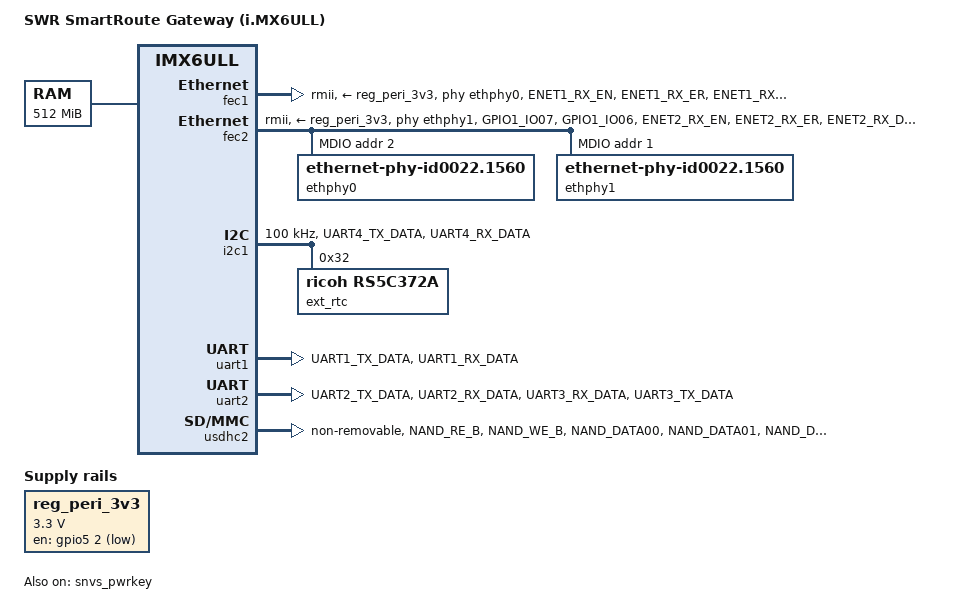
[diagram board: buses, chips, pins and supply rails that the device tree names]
// SPDX-License-Identifier: (GPL-2.0 OR MIT)
/*
 * SWR SmartRoute Gateway - i.MX6ULL custom board
 *
 * NXP i.MX6ULL 14x14 EVK 디바이스트리(imx6ul-14x14-evk.dtsi)에서 이 보드에
 * 실제로 있는 장치만 추려서 만든 전용 DTS. EVK dtsi를 include하지 않으므로
 * EVK에만 있는 LCD/터치/카메라/오디오/Wi-Fi/BT/HDMI 브리지/센서/CAN 노드는
 * 애초에 들어오지 않는다(SoC dtsi 기본값이 전부 disabled).
 *
 * 보드 구성 (docs/hardware.md 참고):
 *   - DDR 512MB, eMMC(uSDHC2), 외부 RTC RS5C372A(I2C1, 0x32)
 *   - Ethernet x2: FEC1 + FEC2 (PHY는 둘 다 FEC2의 MDIO 버스에 연결, EVK와 동일)
 *   - UART1: 디버그 콘솔(ttymxc0), UART2: RS485(ttymxc1)
 *   - LCD/터치/부저 없음 (헤드리스)
 *
 * 핀먹스/노드 내용은 EVK dtsi에서 그대로 가져온 것이라 EVK와 배선이 같은
 * 부분(이더넷, eMMC, UART, I2C1)은 그대로 동작하고, 아래 "확인 필요" 표시가
 * 있는 항목은 회로도 확인 후 손봐야 한다.
 */

/dts-v1/;

#include "imx6ull.dtsi"

/ {
	model = "SWR SmartRoute Gateway (i.MX6ULL)";
	compatible = "swr,smartroute-gateway", "fsl,imx6ull";

	chosen {
		stdout-path = &uart1;
	};

	/*
	 * RTC 번호 고정: 별칭이 없으면 프로브 순서에 따라 rtc0/rtc1이 바뀔 수
	 * 있다. 외부 RS5C372A를 rtc0으로 고정해 커널 hctosys/systohc 대상이
	 * 항상 배터리 백업 RTC가 되게 한다(SNVS RTC는 백업 전원이 없음).
	 */
	aliases {
		rtc0 = &ext_rtc;
		rtc1 = &snvs_rtc;
	};

	memory@80000000 {
		device_type = "memory";
		reg = <0x80000000 0x20000000>;
	};

	/*
	 * EVK에서는 이 GPIO(GPIO5_IO02)가 주변장치(이더넷 PHY 포함) 3.3V
	 * 레귤레이터 enable이다. 이 보드에서 같은 배선인지 확인 필요 -
	 * EVK dtsi를 패치해 쓰던 기존 구성에서도 이 노드가 있었고 그 상태로
	 * 이더넷이 동작했으므로 일단 그대로 둔다. 보드에 해당 회로가 없다면
	 * 이 노드와 &fec1/&fec2의 phy-supply를 함께 지우면 된다.
	 */
	reg_peri_3v3: regulator-peri-3v3 {
		compatible = "regulator-fixed";
		pinctrl-names = "default";
		pinctrl-0 = <&pinctrl_peri_3v3>;
		regulator-name = "VPERI_3V3";
		regulator-min-microvolt = <3300000>;
		regulator-max-microvolt = <3300000>;
		gpio = <&gpio5 2 GPIO_ACTIVE_LOW>;
		regulator-always-on;
	};
};

&clks {
	assigned-clocks = <&clks IMX6UL_CLK_PLL3_PFD2>;
	assigned-clock-rates = <320000000>;
};

/*
 * Ethernet. 커널 netdev 이름은 프로브 순서(레지스터 주소 순)로 붙으므로
 * FEC2(20b4000) = eth0, FEC1(2188000) = eth1 이 된다. 네트워크 설정은 이름이
 * 아니라 udev ID_PATH(platform-2188000.ethernet 등)로 매칭한다
 * (recipes-core/swr-network-config 참고).
 *
 * 시제품 보드는 FEC1 쪽 PHY(주소 2)만 실장되어 있어 FEC2는 "Unable to
 * connect to phy"로 뜨지 않고, PHY 리셋 폴링 타임아웃 때문에 부팅이 약 40초
 * 늦어진다. 양산 보드에 FEC2 PHY(주소 1)가 실장되면 그대로 동작한다.
 */
&fec1 {
	pinctrl-names = "default";
	pinctrl-0 = <&pinctrl_enet1>;
	phy-mode = "rmii";
	phy-handle = <&ethphy0>;
	phy-supply = <&reg_peri_3v3>;
	status = "okay";
};

&fec2 {
	pinctrl-names = "default";
	pinctrl-0 = <&pinctrl_enet2>;
	phy-mode = "rmii";
	phy-handle = <&ethphy1>;
	phy-supply = <&reg_peri_3v3>;
	status = "okay";

	mdio {
		#address-cells = <1>;
		#size-cells = <0>;

		ethphy0: ethernet-phy@2 {
			compatible = "ethernet-phy-id0022.1560";
			reg = <2>;
			micrel,led-mode = <1>;
			clocks = <&clks IMX6UL_CLK_ENET_REF>;
			clock-names = "rmii-ref";
		};

		ethphy1: ethernet-phy@1 {
			compatible = "ethernet-phy-id0022.1560";
			reg = <1>;
			micrel,led-mode = <1>;
			clocks = <&clks IMX6UL_CLK_ENET2_REF>;
			clock-names = "rmii-ref";
		};
	};
};

/* 외부 RTC (Ricoh RS5C372A) - Linux에서는 i2c-0 */
&i2c1 {
	clock-frequency = <100000>;
	pinctrl-names = "default";
	pinctrl-0 = <&pinctrl_i2c1>;
	status = "okay";

	ext_rtc: rtc@32 {
		compatible = "ricoh,rs5c372a";
		reg = <0x32>;
	};
};

/* 디버그 콘솔 (ttymxc0) */
&uart1 {
	pinctrl-names = "default";
	pinctrl-0 = <&pinctrl_uart1>;
	status = "okay";
};

/*
 * RS485 (ttymxc1) - SmartRoute 앱이 Modbus RTU/ASCII, PCLink에 사용.
 * 확인 필요: 트랜시버가 자동 방향전환이면 아래 설정 그대로면 되고, RTS로
 * DE/RE를 제어해야 하면 `linux,rs485-enabled-at-boot-time;` 과
 * `rs485-rts-active-high;`(극성에 맞게)를 추가해야 한다. 기존 EVK 패치
 * 구성(RTS/CTS 핀 포함)에서 통신이 되고 있었으므로 그 설정을 유지한다.
 */
&uart2 {
	pinctrl-names = "default";
	pinctrl-0 = <&pinctrl_uart2>;
	uart-has-rtscts;
	status = "okay";
};

/*
 * eMMC (uSDHC2). 확인 필요: 보드가 DATA4~7까지 배선되어 있으면 EVK의
 * imx6ull-14x14-evk-emmc.dts처럼 pinctrl_usdhc2_8bit + bus-width = <8>로
 * 바꿔 성능을 올릴 수 있다. 확인 전까지는 EVK 기본(4bit) 구성을 유지한다.
 */
&usdhc2 {
	pinctrl-names = "default";
	pinctrl-0 = <&pinctrl_usdhc2>;
	non-removable;
	keep-power-in-suspend;
	wakeup-source;
	status = "okay";
};

/*
 * 워치독/재부팅: OP-TEE(PSCI)가 없으므로 커널은 wdog1로 시스템을 재시작한다.
 * EVK의 fsl,ext-reset-output은 소프트웨어 재시작 시 외부 WDOG_B 핀(LCD_RESET
 * 패드)만 구동하는데 - EVK에서는 그 핀이 PMIC 리셋에 연결돼 있지만 이 보드는
 * 아니라서 `reboot`가 "Reboot failed -- System halted"로 멈추고 128초 워치독
 * 타임아웃으로만 재시작됐다(2026-10-13 실기기, meta-sdr100도 동일). 속성을
 * 빼서 SoC 내부 리셋을 쓰게 한다.
 */
&wdog1 {
	pinctrl-names = "default";
	pinctrl-0 = <&pinctrl_wdog>;
};

&snvs_poweroff {
	status = "okay";
};

&snvs_pwrkey {
	status = "okay";
};

&iomuxc {
	pinctrl-names = "default";

	pinctrl_enet1: enet1grp {
		fsl,pins = <
			MX6UL_PAD_ENET1_RX_EN__ENET1_RX_EN	0x1b0b0
			MX6UL_PAD_ENET1_RX_ER__ENET1_RX_ER	0x1b0b0
			MX6UL_PAD_ENET1_RX_DATA0__ENET1_RDATA00	0x1b0b0
			MX6UL_PAD_ENET1_RX_DATA1__ENET1_RDATA01	0x1b0b0
			MX6UL_PAD_ENET1_TX_EN__ENET1_TX_EN	0x1b0b0
			MX6UL_PAD_ENET1_TX_DATA0__ENET1_TDATA00	0x1b0b0
			MX6UL_PAD_ENET1_TX_DATA1__ENET1_TDATA01	0x1b0b0
			MX6UL_PAD_ENET1_TX_CLK__ENET1_REF_CLK1	0x4001b031
		>;
	};

	pinctrl_enet2: enet2grp {
		fsl,pins = <
			MX6UL_PAD_GPIO1_IO07__ENET2_MDC		0x1b0b0
			MX6UL_PAD_GPIO1_IO06__ENET2_MDIO	0x1b0b0
			MX6UL_PAD_ENET2_RX_EN__ENET2_RX_EN	0x1b0b0
			MX6UL_PAD_ENET2_RX_ER__ENET2_RX_ER	0x1b0b0
			MX6UL_PAD_ENET2_RX_DATA0__ENET2_RDATA00	0x1b0b0
			MX6UL_PAD_ENET2_RX_DATA1__ENET2_RDATA01	0x1b0b0
			MX6UL_PAD_ENET2_TX_EN__ENET2_TX_EN	0x1b0b0
			MX6UL_PAD_ENET2_TX_DATA0__ENET2_TDATA00	0x1b0b0
			MX6UL_PAD_ENET2_TX_DATA1__ENET2_TDATA01	0x1b0b0
			MX6UL_PAD_ENET2_TX_CLK__ENET2_REF_CLK2	0x4001b031
		>;
	};

	pinctrl_i2c1: i2c1grp {
		fsl,pins = <
			MX6UL_PAD_UART4_TX_DATA__I2C1_SCL 0x4001b8b0
			MX6UL_PAD_UART4_RX_DATA__I2C1_SDA 0x4001b8b0
		>;
	};

	pinctrl_peri_3v3: peri3v3grp {
		fsl,pins = <
			MX6UL_PAD_SNVS_TAMPER2__GPIO5_IO02	0x1b0b0
		>;
	};

	pinctrl_uart1: uart1grp {
		fsl,pins = <
			MX6UL_PAD_UART1_TX_DATA__UART1_DCE_TX 0x1b0b1
			MX6UL_PAD_UART1_RX_DATA__UART1_DCE_RX 0x1b0b1
		>;
	};

	pinctrl_uart2: uart2grp {
		fsl,pins = <
			MX6UL_PAD_UART2_TX_DATA__UART2_DCE_TX	0x1b0b1
			MX6UL_PAD_UART2_RX_DATA__UART2_DCE_RX	0x1b0b1
			MX6UL_PAD_UART3_RX_DATA__UART2_DCE_RTS	0x1b0b1
			MX6UL_PAD_UART3_TX_DATA__UART2_DCE_CTS	0x1b0b1
		>;
	};

	pinctrl_usdhc2: usdhc2grp {
		fsl,pins = <
			MX6UL_PAD_NAND_RE_B__USDHC2_CLK     0x17059
			MX6UL_PAD_NAND_WE_B__USDHC2_CMD     0x17059
			MX6UL_PAD_NAND_DATA00__USDHC2_DATA0 0x17059
			MX6UL_PAD_NAND_DATA01__USDHC2_DATA1 0x17059
			MX6UL_PAD_NAND_DATA02__USDHC2_DATA2 0x17059
			MX6UL_PAD_NAND_DATA03__USDHC2_DATA3 0x17059
		>;
	};

	pinctrl_wdog: wdoggrp {
		fsl,pins = <
			MX6UL_PAD_LCD_RESET__WDOG1_WDOG_ANY    0x30b0
		>;
	};
};
